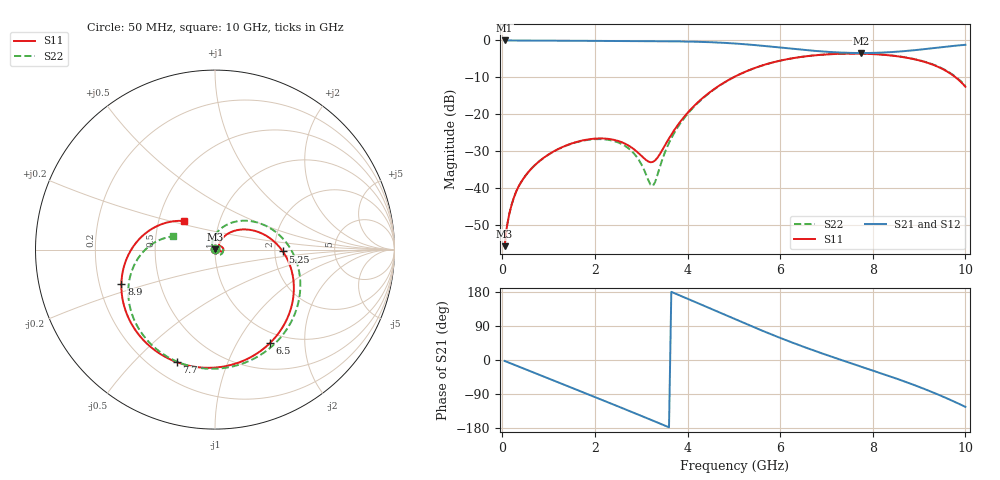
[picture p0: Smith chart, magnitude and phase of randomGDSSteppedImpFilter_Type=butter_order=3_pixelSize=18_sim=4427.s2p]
! freq	dB(S11)	phase(S11)	dB(S12)	phase(S12)
!  dB(S21)	phase(S21)	dB(S22)	phase(S22)
!S-par simulation data
#  GHz  S  DB  R 50
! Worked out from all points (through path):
!   200 points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, 50 MHz to 10 GHz, reference 50 ohm
!   highest |S21| = -0.01 dB at 50 MHz (marker M1); lowest = -3.4 dB at 7.75 GHz (marker M2)
!   group delay of S21, straight-line fit = 134 ps
!   lowest |S11| = -55.7 dB at 50 MHz (marker M3), VSWR 1.00, Z = 50 + j0.158 ohm
!   |S11| at or under -10 dB: start of sweep to 4.989 GHz; 9.789 GHz to end of sweep
!   |S22| runs from -55.7 to -3.5 dB; largest |S21 - S12| = 0
!   S11 on the Smith chart (normalised r, x): 50 MHz: 1.00, +0.00; 5.25 GHz: 2.21, -0.05; 6.5 GHz: 0.85, -1.39; 7.7 GHz: 0.30, -0.67; 8.9 GHz: 0.29, -0.16; 10 GHz: 0.67, +0.23
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0.05  -55.68 74.0  -0.01 -2.5  -0.01 -2.5  -55.68 73.6
0.2  -44.53 76.2  -0.02 -9.8  -0.02 -9.8  -44.50 74.3
0.5  -36.62 66.3  -0.03 -24.5  -0.03 -24.5  -36.61 63.4
1.15  -29.76 38.4  -0.07 -56.2  -0.07 -56.2  -29.80 31.6
1.75  -27.02 12.9  -0.10 -85.5  -0.10 -85.5  -27.12 1.1
2.65  -27.95 -17.7  -0.16 -129.9  -0.16 -129.9  -28.55 -50.1
3.25  -32.89 19.4  -0.20 -159.9  -0.20 -159.9  -39.40 -160.9
3.4  -30.83 42.8  -0.21 -167.5  -0.21 -167.5  -34.35 140.8
3.65  -25.50 57.2  -0.24 179.8  -0.24 179.8  -26.48 106.8
4  -19.60 52.6  -0.30 161.7  -0.30 161.7  -19.90 81.3
4.55  -13.39 31.4  -0.51 132.8  -0.51 132.8  -13.48 48.9
5.05  -9.61 8.1  -0.85 106.4  -0.85 106.4  -9.65 21.4
5.25  -8.45 -1.5  -1.04 96.0  -1.04 96.0  -8.48 10.7
5.9  -5.76 -32.5  -1.80 63.2  -1.80 63.2  -5.77 -22.5
6.5  -4.38 -59.4  -2.55 35.1  -2.55 35.1  -4.38 -50.5
6.7  -4.09 -68.0  -2.78 26.3  -2.78 26.3  -4.09 -59.2
7.7  -3.58 -108.8  -3.40 -15.4  -3.40 -15.4  -3.56 -100.2
7.75  -3.59 -110.8  -3.40 -17.4  -3.40 -17.4  -3.57 -102.2
8.35  -4.02 -135.4  -3.19 -42.1  -3.19 -42.1  -3.99 -126.1
8.9  -5.10 -159.8  -2.64 -66.3  -2.64 -66.3  -5.04 -149.0
9.5  -7.69 169.6  -1.81 -95.8  -1.81 -95.8  -7.58 -175.7
10  -12.53 137.5  -1.19 -123.6  -1.19 -123.6  -12.29 162.4
